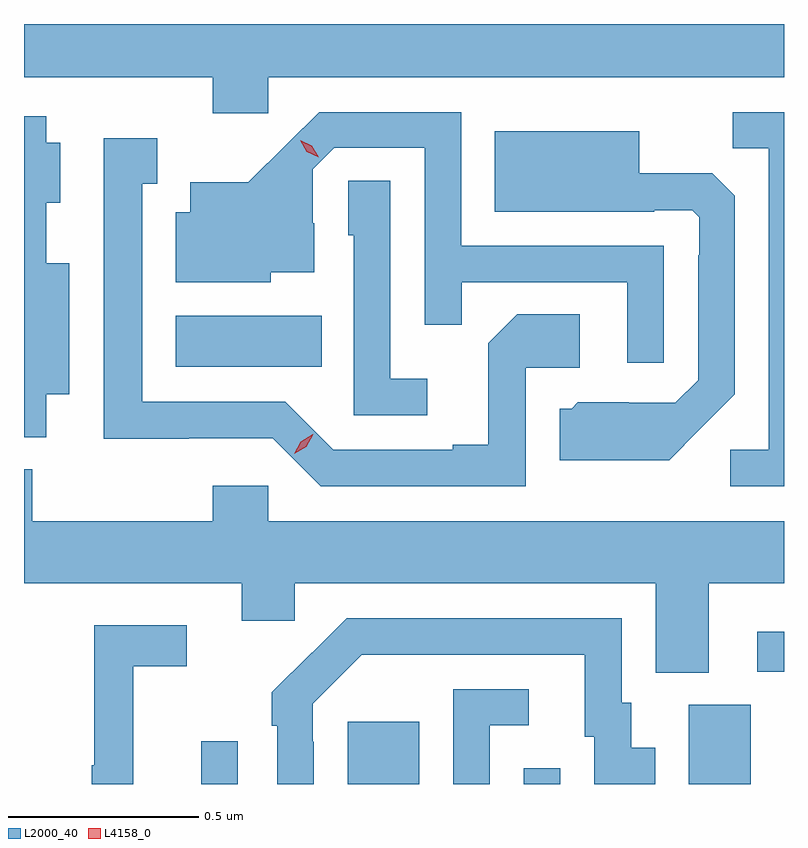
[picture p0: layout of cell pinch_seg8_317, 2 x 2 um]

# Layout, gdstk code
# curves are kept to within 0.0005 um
import gdstk
lib = gdstk.Library(unit=1e-6, precision=1e-09)
def R(c, l, rs):  # rectangles x0, y0, x1, y1
    for r in rs: c.add(gdstk.rectangle(r[:2], r[2:], *l))
def P(c, l, *ps):  # polygons
    for p in ps: c.add(gdstk.Polygon(p, *l))
L2000_40 = (2000, 40)
L4158_0 = (4158, 0)

pinch_seg8_317 = lib.new_cell('pinch_seg8_317')
R(pinch_seg8_317, L2000_40, [(514.395,1151.936,514.491,1152.049), (514.781,1151.936,514.969,1152.1), (515.244,1151.936,515.34,1151.977), (515.678,1151.936,515.842,1152.144), (515.859,1152.231,515.929,1152.337), (514.328,1153.034,514.712,1153.168)])
P(pinch_seg8_317, L2000_40, [(514.572,1153.796),(515.929,1153.796),(515.929,1153.936),(513.929,1153.936),(513.929,1153.796),(514.426,1153.796),(514.426,1153.701),(514.572,1153.701)],
  [(515.929,1153.704),(515.794,1153.704),(515.794,1153.609),(515.889,1153.609),(515.889,1152.816),(515.787,1152.816),(515.787,1152.72),(515.929,1152.72)],
  [(515.613,1153.353),(515.079,1153.353),(515.079,1153.704),(514.706,1153.704),(514.519,1153.519),(514.367,1153.519),(514.367,1153.441),(514.328,1153.441),(514.328,1153.256),(514.578,1153.256),(514.578,1153.283),(514.693,1153.283),(514.693,1153.412),(514.689,1153.412),(514.689,1153.554),(514.746,1153.611),(514.983,1153.611),(514.983,1153.144),(515.081,1153.144),(515.081,1153.257),(515.517,1153.257),(515.517,1153.044),(515.613,1153.044)],
  [(513.988,1152.962),(514.048,1152.962),(514.048,1153.306),(513.988,1153.306),(513.988,1153.466),(514.024,1153.466),(514.024,1153.624),(513.988,1153.624),(513.988,1153.693),(513.929,1153.693),(513.929,1152.849),(513.988,1152.849)],
  [(515.707,1152.869),(515.799,1152.962),(515.799,1153.484),(515.74,1153.543),(515.548,1153.543),(515.548,1153.654),(515.168,1153.654),(515.168,1153.442),(515.588,1153.442),(515.588,1153.446),(515.688,1153.446),(515.706,1153.428),(515.706,1153.328),(515.703,1153.328),(515.703,1152.999),(515.643,1152.939),(515.52,1152.939),(515.52,1152.94),(515.386,1152.94),(515.37,1152.924),(515.339,1152.924),(515.339,1152.788),(515.627,1152.788)],
  [(515.25,1153.032),(515.392,1153.032),(515.392,1153.172),(515.227,1153.172),(515.151,1153.096),(515.151,1152.829),(515.057,1152.829),(515.057,1152.816),(514.743,1152.816),(514.617,1152.942),(514.24,1152.942),(514.24,1153.515),(514.279,1153.515),(514.279,1153.636),(514.139,1153.636),(514.139,1152.845),(514.362,1152.845),(514.362,1152.846),(514.584,1152.846),(514.71,1152.72),(515.25,1152.72)],
  [(514.99,1153.003),(514.893,1153.003),(514.893,1153.523),(514.782,1153.523),(514.782,1153.38),(514.797,1153.38),(514.797,1152.906),(514.99,1152.906)],
  [(515.731,1152.464),(515.929,1152.464),(515.929,1152.628),(514.572,1152.628),(514.572,1152.721),(514.426,1152.721),(514.426,1152.628),(513.951,1152.628),(513.951,1152.764),(513.929,1152.764),(513.929,1152.464),(514.502,1152.464),(514.502,1152.366),(514.641,1152.366),(514.641,1152.464),(515.591,1152.464),(515.591,1152.229),(515.731,1152.229)],
  [(514.692,1152.047),(514.689,1152.047),(514.689,1152.147),(514.818,1152.276),(515.405,1152.276),(515.405,1152.06),(515.429,1152.06),(515.429,1151.936),(515.59,1151.936),(515.59,1152.031),(515.527,1152.031),(515.527,1152.15),(515.502,1152.15),(515.502,1152.372),(514.778,1152.372),(514.687,1152.281),(514.686,1152.282),(514.581,1152.177),(514.581,1152.089),(514.596,1152.089),(514.596,1151.936),(514.692,1151.936)],
  [(514.217,1152.246),(514.357,1152.246),(514.357,1152.354),(514.114,1152.354),(514.114,1151.986),(514.107,1151.986),(514.107,1151.936),(514.217,1151.936)],
  [(515.154,1152.09),(515.257,1152.09),(515.257,1152.186),(515.058,1152.186),(515.058,1151.936),(515.154,1151.936)])
P(pinch_seg8_317, L4158_0, [(514.704,1153.585),(514.673,1153.6),(514.656,1153.63),(514.656,1153.63),(514.656,1153.63),(514.686,1153.615),(514.704,1153.586),(514.704,1153.585)],
  [(514.64,1152.805),(514.64,1152.805),(514.657,1152.837),(514.689,1152.856),(514.69,1152.856),(514.69,1152.856),(514.672,1152.823),(514.64,1152.805)])

lib.write_gds('pinch_seg8_317.gds')
